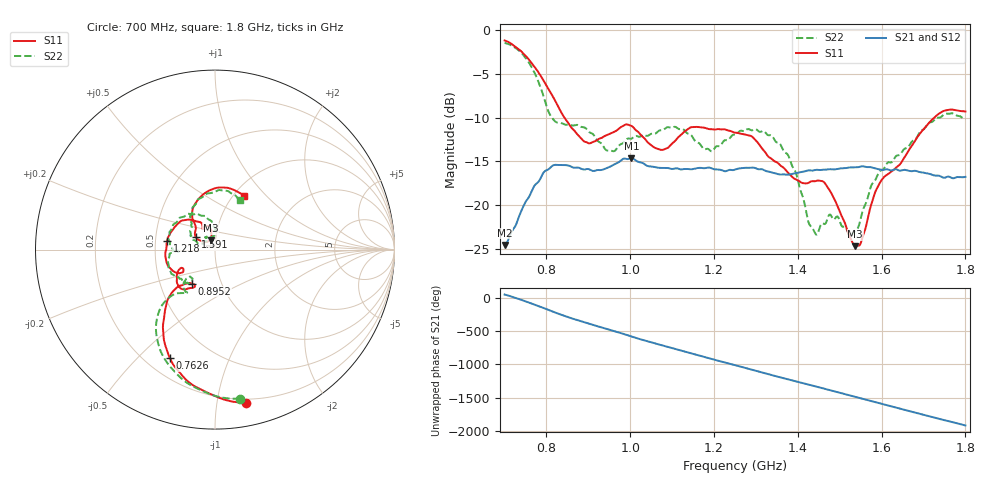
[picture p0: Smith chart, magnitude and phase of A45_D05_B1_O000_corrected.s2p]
! Created with skrf 1.9.0 (http://scikit-rf.org).
# Hz S RI R 50.0
!freq ReS11 ImS11 ReS21 ImS21 ReS12 ImS12 ReS22 ImS22
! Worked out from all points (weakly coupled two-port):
!   1601 points, 700 MHz to 1.8 GHz, reference 50 ohm
!   highest |S21| = -14.64 dB at 1.002 GHz (marker M1); lowest = -24.5 dB at 700.7 MHz (marker M2)
!   lowest |S11| = -24.7 dB at 1.537 GHz (marker M3), VSWR 1.12, Z = 47.3 + j5.02 ohm
!   |S11| at or under -10 dB: 842.6 MHz to 1.726 GHz (883.4 MHz wide, 68.8 % of centre)
!   |S22| runs from -23.6 to -1.5 dB; largest |S21 - S12| = 0.0034
!   S11 on the Smith chart (normalised r, x): 700 MHz: 0.17, -1.21; 762.6 MHz: 0.30, -0.63; 895.2 MHz: 0.73, -0.29; 1.218 GHz: 0.58, +0.06; 1.591 GHz: 0.80, +0.11; 1.8 GHz: 1.12, +0.76
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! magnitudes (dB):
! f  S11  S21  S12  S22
! 700 MHz  -1.2  -24.5  -24.3  -1.5
! 700.7 MHz  -1.2  -24.5  -24.2  -1.5
! 762.6 MHz  -3.7  -18.6  -18.6  -4.1
! 816.2 MHz  -7.7  -15.4  -15.5  -10.2
! 883.6 MHz  -12.4  -15.9  -15.8  -11.1
! 895.2 MHz  -12.8  -15.9  -16.0  -11.3
! 946.1 MHz  -12.0  -15.7  -15.7  -13.8
! 1.002 GHz  -11.0  -14.6  -14.7  -12.4
! 1.067 GHz  -13.6  -15.7  -15.7  -11.6
! 1.145 GHz  -11.1  -15.9  -15.9  -12.0
! 1.218 GHz  -11.4  -16.0  -16.0  -13.1
! 1.25 GHz  -11.7  -15.9  -15.9  -12.0
! 1.357 GHz  -15.4  -16.5  -16.4  -13.0
! 1.394 GHz  -17.0  -16.4  -16.3  -16.2
! 1.434 GHz  -17.3  -16.1  -16.0  -22.5
! 1.469 GHz  -17.8  -15.9  -15.9  -21.7
! 1.537 GHz  -24.7  -15.7  -15.7  -22.9
! 1.552 GHz  -24.1  -15.6  -15.6  -21.2
! 1.591 GHz  -17.9  -15.9  -15.9  -16.5
! 1.617 GHz  -16.4  -16.0  -15.9  -15.1
! 1.733 GHz  -9.7  -16.6  -16.6  -10.0
! 1.8 GHz  -9.3  -16.8  -16.8  -10.2
